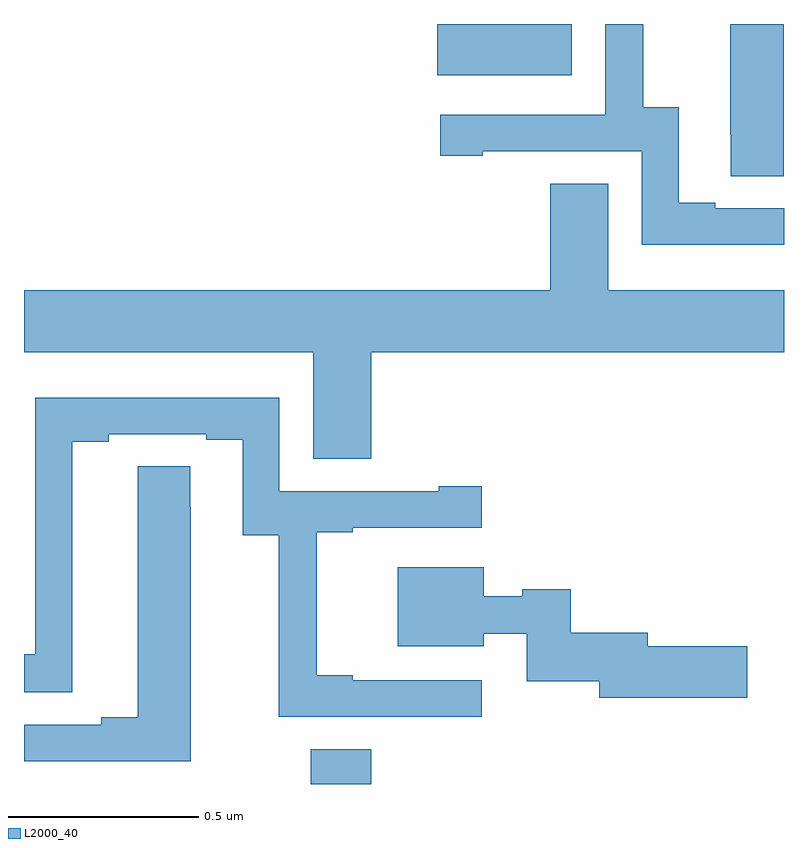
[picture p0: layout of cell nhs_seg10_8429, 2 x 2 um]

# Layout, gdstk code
import gdstk
lib = gdstk.Library(unit=1e-6, precision=1e-09)
def R(c, l, rs):  # rectangles x0, y0, x1, y1
    for r in rs: c.add(gdstk.rectangle(r[:2], r[2:], *l))
def P(c, l, *ps):  # polygons
    for p in ps: c.add(gdstk.Polygon(p, *l))
L2000_40 = (2000, 40)

nhs_seg10_8429 = lib.new_cell('nhs_seg10_8429')
R(nhs_seg10_8429, L2000_40, [(216.754,1312.5,216.914,1312.592), (217.088,1314.365,217.441,1314.5)])
P(nhs_seg10_8429, L2000_40, [(218,1314.015),(217.819,1314.015),(217.819,1314.03),(217.723,1314.03),(217.723,1314.281),(217.629,1314.281),(217.629,1314.5),(217.53,1314.5),(217.53,1314.261),(217.095,1314.261),(217.095,1314.153),(217.207,1314.153),(217.207,1314.165),(217.626,1314.165),(217.626,1313.919),(218,1313.919)],
  [(217.999,1314.5),(217.859,1314.5),(217.859,1314.208),(217.86,1314.208),(217.86,1314.1),(217.999,1314.1)],
  [(216.914,1313.636),(218,1313.636),(218,1313.8),(217.537,1313.8),(217.537,1314.08),(217.385,1314.08),(217.385,1313.8),(216,1313.8),(216,1313.636),(216.761,1313.636),(216.761,1313.356),(216.914,1313.356)],
  [(217.204,1312.773),(216.865,1312.773),(216.865,1312.786),(216.77,1312.786),(216.77,1313.163),(216.865,1313.163),(216.865,1313.175),(217.204,1313.175),(217.204,1313.284),(217.091,1313.284),(217.091,1313.271),(216.672,1313.271),(216.672,1313.517),(216.03,1313.517),(216.03,1312.842),(216,1312.842),(216,1312.741),(216.127,1312.741),(216.127,1313.401),(216.223,1313.401),(216.223,1313.421),(216.479,1313.421),(216.479,1313.406),(216.575,1313.406),(216.575,1313.155),(216.67,1313.155),(216.67,1312.677),(217.204,1312.677)],
  [(216.439,1313.228),(216.438,1313.228),(216.438,1313.336),(216.299,1313.336),(216.299,1312.676),(216.203,1312.676),(216.203,1312.656),(216,1312.656),(216,1312.56),(216.439,1312.56)],
  [(217.903,1312.862),(217.642,1312.862),(217.642,1312.898),(217.439,1312.898),(217.439,1313.012),(217.311,1313.012),(217.311,1312.994),(217.21,1312.994),(217.21,1313.071),(216.983,1313.071),(216.983,1312.862),(217.21,1312.862),(217.21,1312.896),(217.323,1312.896),(217.323,1312.77),(217.514,1312.77),(217.514,1312.727),(217.903,1312.727)])

lib.write_gds('nhs_seg10_8429.gds')
